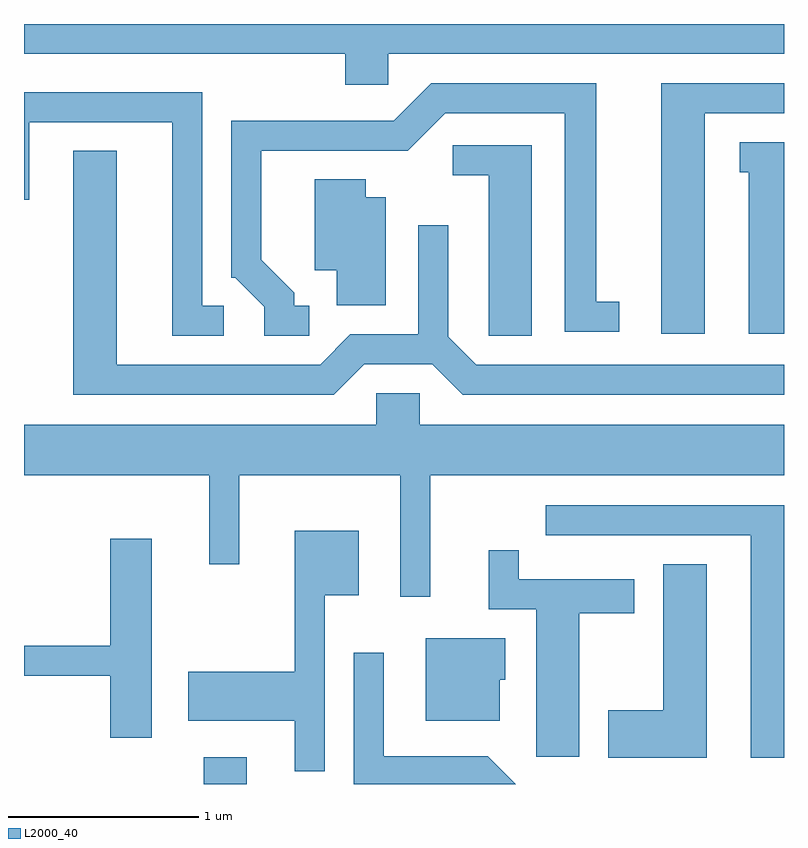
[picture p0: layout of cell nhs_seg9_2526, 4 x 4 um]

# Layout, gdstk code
import gdstk
lib = gdstk.Library(unit=1e-6, precision=1e-09)
def R(c, l, rs):  # rectangles x0, y0, x1, y1
    for r in rs: c.add(gdstk.rectangle(r[:2], r[2:], *l))
def P(c, l, *ps):  # polygons
    for p in ps: c.add(gdstk.Polygon(p, *l))
L2000_40 = (2000, 40)

nhs_seg9_2526 = lib.new_cell('nhs_seg9_2526')
R(nhs_seg9_2526, L2000_40, [(260.556,1972.432,260.784,1972.574)])
P(nhs_seg9_2526, L2000_40, [(261.529,1976.276),(263.611,1976.276),(263.611,1976.432),(259.611,1976.432),(259.611,1976.276),(261.301,1976.276),(261.301,1976.111),(261.529,1976.111)],
  [(263.194,1975.961),(263.611,1975.961),(263.611,1976.119),(262.966,1976.119),(262.966,1974.801),(263.194,1974.801)],
  [(261.113,1974.949),(261.034,1974.949),(261.034,1975.017),(260.859,1975.192),(260.859,1975.766),(261.632,1975.766),(261.827,1975.961),(262.456,1975.961),(262.456,1974.811),(262.743,1974.811),(262.743,1974.969),(262.624,1974.969),(262.624,1976.119),(261.754,1976.119),(261.558,1975.924),(260.701,1975.924),(260.701,1975.096),(260.724,1975.096),(260.876,1974.944),(260.876,1974.791),(261.113,1974.791)],
  [(260.663,1974.949),(260.549,1974.949),(260.549,1976.074),(259.611,1976.074),(259.611,1975.506),(259.639,1975.506),(259.639,1975.916),(260.391,1975.916),(260.391,1974.791),(260.663,1974.791)],
  [(263.611,1975.809),(263.378,1975.809),(263.378,1975.651),(263.426,1975.651),(263.426,1974.801),(263.611,1974.801)],
  [(262.284,1975.794),(261.868,1975.794),(261.868,1975.636),(262.056,1975.636),(262.056,1974.791),(262.284,1974.791)],
  [(261.402,1974.641),(261.759,1974.641),(261.919,1974.481),(263.611,1974.481),(263.611,1974.639),(261.992,1974.639),(261.844,1974.787),(261.844,1975.373),(261.686,1975.373),(261.686,1974.799),(261.329,1974.799),(261.169,1974.639),(260.099,1974.639),(260.099,1975.764),(259.871,1975.764),(259.871,1974.481),(261.242,1974.481)],
  [(261.514,1975.519),(261.409,1975.519),(261.409,1975.614),(261.141,1975.614),(261.141,1975.136),(261.256,1975.136),(261.256,1974.951),(261.514,1974.951)],
  [(261.749,1974.056),(263.611,1974.056),(263.611,1974.324),(261.694,1974.324),(261.694,1974.489),(261.466,1974.489),(261.466,1974.324),(259.611,1974.324),(259.611,1974.056),(260.586,1974.056),(260.586,1973.588),(260.744,1973.588),(260.744,1974.056),(261.591,1974.056),(261.591,1973.418),(261.749,1973.418)],
  [(263.611,1973.899),(262.358,1973.899),(262.358,1973.741),(263.436,1973.741),(263.436,1972.571),(263.611,1972.571)],
  [(261.194,1973.426),(261.374,1973.426),(261.374,1973.764),(261.036,1973.764),(261.036,1973.024),(260.476,1973.024),(260.476,1972.766),(261.036,1972.766),(261.036,1972.498),(261.194,1972.498)],
  [(260.284,1973.724),(260.066,1973.724),(260.066,1973.159),(259.611,1973.159),(259.611,1973.001),(260.066,1973.001),(260.066,1972.676),(260.284,1972.676)],
  [(262.534,1973.331),(262.824,1973.331),(262.824,1973.509),(262.214,1973.509),(262.214,1973.663),(262.056,1973.663),(262.056,1973.351),(262.306,1973.351),(262.306,1972.576),(262.534,1972.576)],
  [(263.204,1973.589),(262.976,1973.589),(262.976,1972.819),(262.686,1972.819),(262.686,1972.571),(263.204,1972.571)],
  [(262.114,1972.981),(262.144,1972.981),(262.144,1973.199),(261.726,1973.199),(261.726,1972.766),(262.114,1972.766)],
  [(262.052,1972.579),(261.504,1972.579),(261.504,1973.123),(261.346,1973.123),(261.346,1972.432),(262.199,1972.432)])

lib.write_gds('nhs_seg9_2526.gds')
